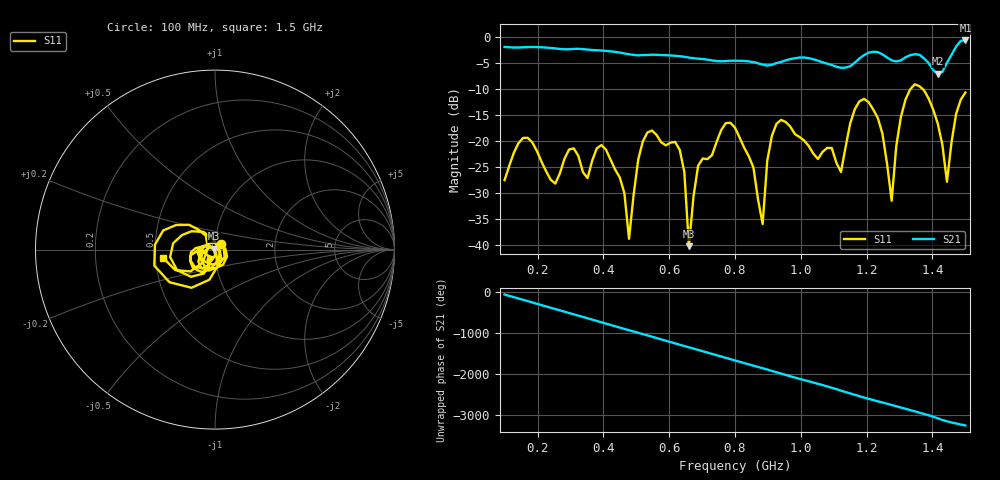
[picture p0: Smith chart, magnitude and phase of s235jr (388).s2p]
! NanoVNA-App
! Date: 2025-09-25 15:07:11
! Start: 100MHz Stop: 1,5GHz Points: 101
! S-Parameter data: F S11 S21 S12 S22
# Hz S RI R 50
!  Frequency  S11_Real  S11_Imag  S21_Real  S21_Imag  S12_Real  S12_Imag  S22_Real  S22_Imag
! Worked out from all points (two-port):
!   101 points, 100 MHz to 1.5 GHz, reference 50 ohm
!   highest |S21| = -0.73 dB at 1.5 GHz (marker M1); lowest = -7.1 dB at 1.416 GHz (marker M2)
!   |S21| within 3 dB of the highest: start of sweep to 630.1 MHz; 1.188 GHz to 1.256 GHz (67.8 MHz wide, 5.55 % of centre) (the widest 2 of 4)
!   lowest |S11| = -40.1 dB at 660 MHz (marker M3), VSWR 1.02, Z = 49.2 + j0.567 ohm
!   |S11| at or under -10 dB: start of sweep to 1.334 GHz; 1.37 GHz to end of sweep
!   S12 and S22 are empty: the file has one direction only
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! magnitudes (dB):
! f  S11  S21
! 100 MHz  -27.5  -2.0
! 156 MHz  -19.4  -2.0
! 338 MHz  -26.0  -2.4
! 408 MHz  -21.6  -2.7
! 478 MHz  -38.7  -3.4
! 520 MHz  -20.0  -3.5
! 576 MHz  -20.3  -3.5
! 632 MHz  -21.7  -3.7
! 660 MHz  -40.1  -4.0
! 688 MHz  -24.7  -4.2
! 800 MHz  -17.4  -4.6
! 884 MHz  -35.9  -5.4
! 926 MHz  -16.7  -5.1
! 1.038 GHz  -22.4  -4.3
! 1.122 GHz  -25.9  -6.0
! 1.192 GHz  -11.9  -3.5
! 1.248 GHz  -18.6  -3.4
! 1.276 GHz  -31.4  -4.5
! 1.332 GHz  -10.1  -3.5
! 1.416 GHz  -16.6  -7.1
! 1.444 GHz  -27.8  -5.0
! 1.5 GHz  -10.7  -0.7
